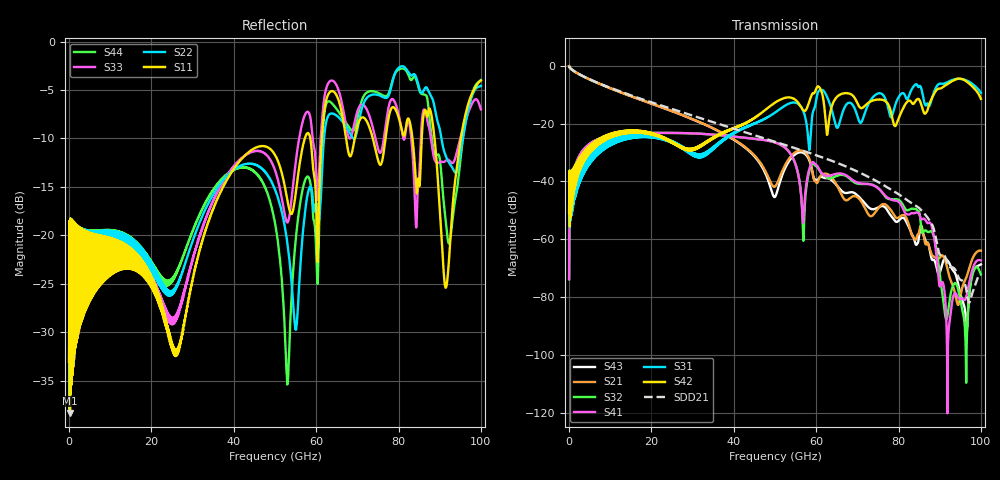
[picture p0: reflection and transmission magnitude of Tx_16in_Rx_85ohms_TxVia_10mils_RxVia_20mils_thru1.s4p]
! Info: Touchstone file created by Circ.  Input file=Tx_16in_Rx_85ohms_TxVia_10mils_RxVia_20mils.circ
# Hz S RI R 50
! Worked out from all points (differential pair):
!   10000 points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, 10 MHz to 100 GHz, reference 50 ohm
!   strongest paths, dB at 10 MHz, 25.01 GHz, 50.01 GHz, 75.01 GHz, 100 GHz:
!     S42: -50.9, -26.5, -12.8, -11.7, -11.5
!     S31: -50.9, -26.5, -16.2, -9.6, -9.4
!     S41: -73.8, -23.2, -26.5, -42.3, -67.3
!     S32: -73.8, -23.2, -26.5, -42.2, -72.2
!     S21: -0.2, -15.7, -41.8, -49.4, -64.0
!     S43: -0.2, -15.7, -45.3, -49.0, -68.7
!   taken as a pair (ports 1,3 in; 2,4 out), SDD21 dB: -0.2, -15.0, -26.3, -40.2, -72.3
!   lowest |S11| = -38.3 dB at 200 MHz (marker M1), VSWR 1.02, Z = 49.1 - j0.85 ohm
!   |S11| at or under -10 dB: start of sweep to 57.23 GHz; 73.76 GHz to 76.84 GHz (3.087 GHz wide, 4.1 % of centre); 88.75 GHz to 95.14 GHz (6.391 GHz wide, 6.95 % of centre) (the widest 3 of 6)
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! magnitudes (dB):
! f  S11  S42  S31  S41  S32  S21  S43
! 10 MHz  -33.1  -50.9  -50.9  -73.8  -73.8  -0.2  -0.2
! 200 MHz  -38.3  -48.7  -48.7  -51.0  -51.0  -0.7  -0.7
! 6.58 GHz  -25.1  -26.0  -27.4  -25.9  -25.9  -5.7  -5.7
! 45.46 GHz  -10.9  -17.6  -19.7  -25.4  -25.3  -31.7  -32.1
! 53.02 GHz  -16.4  -11.0  -13.4  -29.1  -29.1  -33.0  -33.9
! 62.72 GHz  -5.7  -23.7  -11.0  -38.1  -38.8  -37.5  -38.9
! 100 GHz  -4.0  -11.5  -9.4  -67.3  -72.2  -64.0  -68.7
